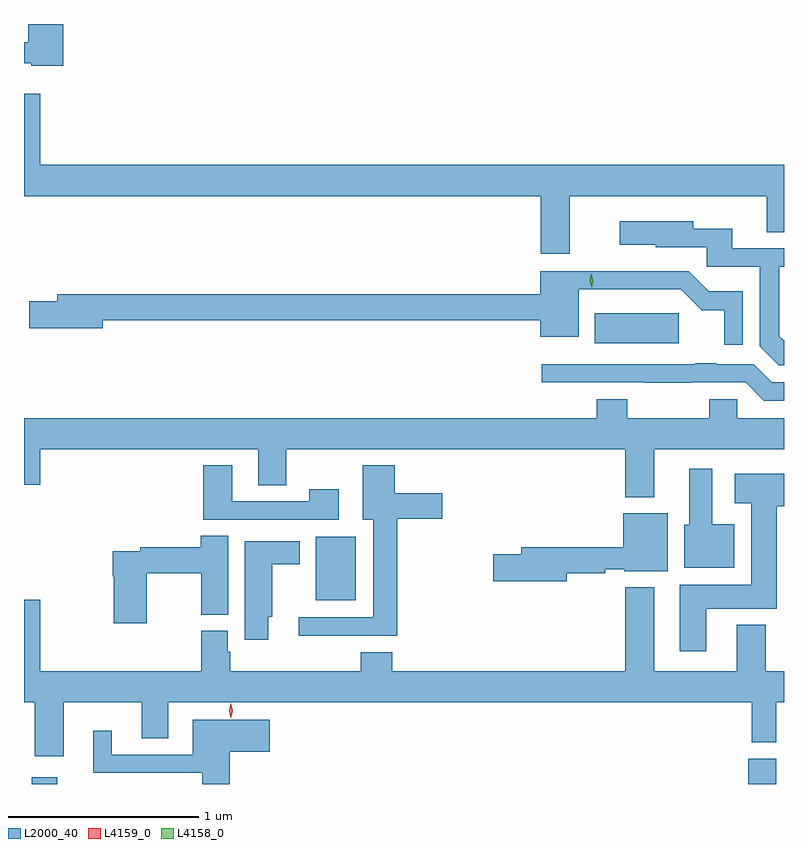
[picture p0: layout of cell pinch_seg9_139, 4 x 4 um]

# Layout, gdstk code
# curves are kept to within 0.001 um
import gdstk
lib = gdstk.Library(unit=1e-6, precision=1e-09)
def R(c, l, rs):  # rectangles x0, y0, x1, y1
    for r in rs: c.add(gdstk.rectangle(r[:2], r[2:], *l))
def P(c, l, *ps):  # polygons
    for p in ps: c.add(gdstk.Polygon(p, *l))
L2000_40 = (2000, 40)
L4158_0 = (4158, 0)
L4159_0 = (4159, 0)

pinch_seg9_139 = lib.new_cell('pinch_seg9_139')
R(pinch_seg9_139, L2000_40, [(644.648,1227.958,644.782,1227.994), (648.419,1227.958,648.565,1228.092), (646.142,1228.925,646.354,1229.26), (647.612,1230.278,648.052,1230.436)])
P(pinch_seg9_139, L2000_40, [(644.813,1231.958),(644.63,1231.958),(644.63,1231.861),(644.607,1231.861),(644.607,1231.751),(644.646,1231.751),(644.646,1231.739),(644.813,1231.739)],
  [(647.479,1231.052),(648.515,1231.052),(648.515,1230.862),(648.607,1230.862),(648.607,1231.216),(644.692,1231.216),(644.692,1231.591),(644.607,1231.591),(644.607,1231.052),(647.327,1231.052),(647.327,1230.75),(647.479,1230.75)],
  [(648.607,1230.29),(648.582,1230.315),(648.582,1230.68),(648.607,1230.68),(648.607,1230.777),(648.334,1230.777),(648.334,1230.88),(648.13,1230.88),(648.13,1230.919),(647.742,1230.919),(647.742,1230.797),(647.931,1230.797),(647.931,1230.783),(648.201,1230.783),(648.201,1230.681),(648.479,1230.681),(648.479,1230.262),(648.579,1230.162),(648.607,1230.162)],
  [(648.39,1230.552),(648.21,1230.552),(648.105,1230.657),(647.324,1230.657),(647.324,1230.536),(644.783,1230.536),(644.783,1230.5),(644.634,1230.5),(644.634,1230.358),(645.022,1230.358),(645.022,1230.4),(647.324,1230.4),(647.324,1230.311),(647.527,1230.311),(647.527,1230.561),(648.063,1230.561),(648.173,1230.451),(648.292,1230.451),(648.292,1230.27),(648.39,1230.27)],
  [(648.607,1230.072),(648.543,1230.072),(648.447,1230.168),(648.25,1230.168),(648.25,1230.173),(648.139,1230.173),(648.139,1230.168),(647.331,1230.168),(647.331,1230.072),(648.405,1230.072),(648.501,1229.976),(648.607,1229.976)],
  [(647.923,1229.72),(648.607,1229.72),(648.607,1229.884),(648.36,1229.884),(648.36,1229.982),(648.214,1229.982),(648.214,1229.884),(647.781,1229.884),(647.781,1229.983),(647.621,1229.983),(647.621,1229.884),(644.607,1229.884),(644.607,1229.532),(644.692,1229.532),(644.692,1229.72),(645.839,1229.72),(645.839,1229.53),(645.987,1229.53),(645.987,1229.72),(647.771,1229.72),(647.771,1229.468),(647.923,1229.468)],
  [(646.571,1229.354),(646.807,1229.354),(646.807,1229.488),(646.558,1229.488),(646.558,1229.635),(646.391,1229.635),(646.391,1229.348),(646.445,1229.348),(646.445,1228.836),(646.053,1228.836),(646.053,1228.739),(646.571,1228.739)],
  [(646.264,1229.509),(646.108,1229.509),(646.108,1229.445),(645.703,1229.445),(645.703,1229.635),(645.551,1229.635),(645.551,1229.349),(646.264,1229.349)],
  [(648.346,1229.326),(648.229,1229.326),(648.229,1229.617),(648.107,1229.617),(648.107,1229.322),(648.083,1229.322),(648.083,1229.096),(648.346,1229.096)],
  [(648.199,1228.88),(648.569,1228.88),(648.569,1229.42),(648.607,1229.42),(648.607,1229.59),(648.347,1229.59),(648.347,1229.435),(648.434,1229.435),(648.434,1229.008),(648.059,1229.008),(648.059,1228.656),(648.199,1228.656)],
  [(647.464,1229.068),(647.666,1229.068),(647.666,1229.088),(647.766,1229.088),(647.766,1229.078),(647.995,1229.078),(647.995,1229.383),(647.762,1229.383),(647.762,1229.204),(647.225,1229.204),(647.225,1229.168),(647.076,1229.168),(647.076,1229.026),(647.464,1229.026)],
  [(645.252,1229.068),(645.541,1229.068),(645.541,1228.849),(645.682,1228.849),(645.682,1229.264),(645.536,1229.264),(645.536,1229.204),(645.22,1229.204),(645.22,1229.184),(645.074,1229.184),(645.074,1229.051),(645.079,1229.051),(645.079,1228.803),(645.252,1228.803)],
  [(645.892,1228.839),(645.913,1228.839),(645.913,1229.114),(646.057,1229.114),(646.057,1229.236),(645.77,1229.236),(645.77,1228.716),(645.892,1228.716)],
  [(644.815,1228.388),(645.227,1228.388),(645.227,1228.198),(645.367,1228.198),(645.367,1228.388),(648.437,1228.388),(648.437,1228.177),(648.565,1228.177),(648.565,1228.388),(648.607,1228.388),(648.607,1228.552),(648.512,1228.552),(648.512,1228.795),(648.359,1228.795),(648.359,1228.552),(647.923,1228.552),(647.923,1228.993),(647.771,1228.993),(647.771,1228.552),(646.544,1228.552),(646.544,1228.651),(646.379,1228.651),(646.379,1228.552),(645.692,1228.552),(645.692,1228.653),(645.679,1228.653),(645.679,1228.764),(645.539,1228.764),(645.539,1228.552),(644.692,1228.552),(644.692,1228.927),(644.607,1228.927),(644.607,1228.388),(644.663,1228.388),(644.663,1228.104),(644.815,1228.104)],
  [(645.689,1228.127),(645.901,1228.127),(645.901,1228.297),(645.494,1228.297),(645.494,1228.113),(645.07,1228.113),(645.07,1228.237),(644.972,1228.237),(644.972,1228.017),(645.546,1228.017),(645.546,1227.958),(645.689,1227.958)])
P(pinch_seg9_139, L4158_0, [(647.596,1230.571),(647.596,1230.572),(647.584,1230.607),(647.593,1230.643),(647.593,1230.643),(647.593,1230.643),(647.604,1230.608),(647.596,1230.572)])
P(pinch_seg9_139, L4159_0, [(645.695,1228.303),(645.686,1228.343),(645.695,1228.383),(645.696,1228.383),(645.696,1228.383),(645.706,1228.343),(645.696,1228.303),(645.696,1228.303)])

lib.write_gds('pinch_seg9_139.gds')
